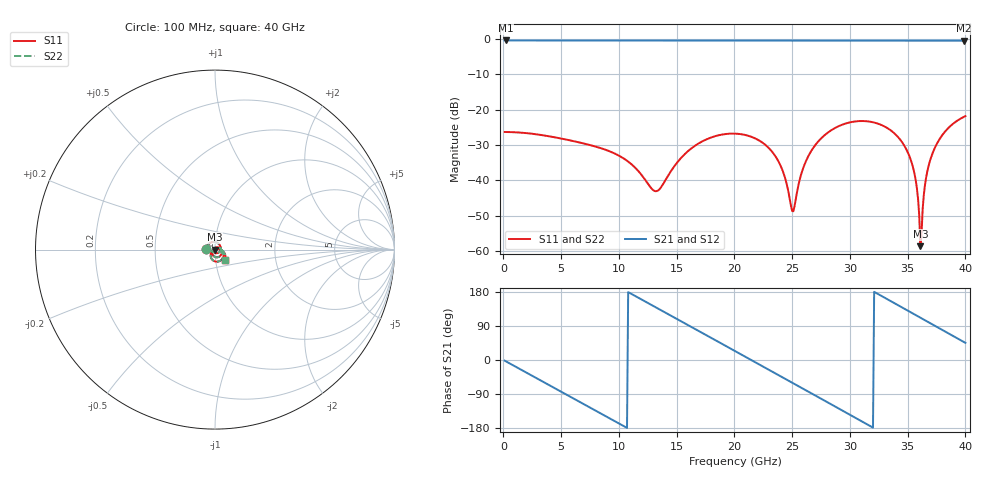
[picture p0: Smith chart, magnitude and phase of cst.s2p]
! thru_s8_L1: 2×thru, L1, 8 mm
! stackup: 8-layer 1.6 mm FR-4 (generic)
! ports: 1, 2
! CST Studio Suite 2025.5 Release from 2025-05-30, time domain (FIT, hexahedral, PBA), 93100 mesh cells, 21 s
! mesh: {'lpw': 20, 'lpb': 20, 'minstep': 0.0, 'ratio': 20}; ports: port 1 (face); port 2 (face)
! interpolated from CST's 1001 samples to the case grid
# Hz S RI R 50
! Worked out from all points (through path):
!   400 points, 100 MHz to 40 GHz, reference 50 ohm
!   highest |S21| = -0.43 dB at 200 MHz (marker M1); lowest = -0.5 dB at 39.9 GHz (marker M2)
!   group delay of S21, straight-line fit = 46.8 ps
!   lowest |S11| = -58.6 dB at 36.1 GHz (marker M3), VSWR 1.00, Z = 49.9 + j0.0467 ohm
!   |S11| at or under -10 dB: start of sweep to end of sweep
!   |S22| runs from -58.6 to -21.8 dB; largest |S21 - S12| = 9.2e-07
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1e8  -0.0483 0.00188  0.951 -0.0278  0.951 -0.0278  -0.0483 0.00188
2e8  -0.0482 0.00375  0.9497 -0.0556  0.9497 -0.0556  -0.0482 0.00375
3.8e9  -0.00232 0.0424  0.4217 -0.8519  0.4217 -0.8519  -0.00232 0.0424
6.8e9  0.0321 0.0103  -0.3846 -0.868  -0.3846 -0.868  0.0321 0.0103
1.02e10  0.0067 -0.0204  -0.9365 -0.1513  -0.9365 -0.1513  0.0067 -0.0204
1.34e10  -0.00503 0.0052  -0.6768 0.6646  -0.6768 0.6646  -0.00503 0.0052
1.67e10  0.0317 0.00294  0.1635 0.9342  0.1635 0.9342  0.0317 0.00294
2.01e10  0.0205 -0.041  0.8734 0.3678  0.8734 0.3678  0.0205 -0.041
2.34e10  -0.0148 -0.0187  0.7958 -0.5129  0.7958 -0.5129  -0.0148 -0.0187
2.43e10  -0.0107 -0.00542  0.6335 -0.7034  0.6335 -0.7034  -0.0107 -0.00542
2.51e10  -0.0012 0.00347  0.4516 -0.8318  0.4516 -0.8318  -0.0012 0.00347
2.58e10  0.0103 0.00707  0.2715 -0.9067  0.2715 -0.9067  0.0103 0.00707
2.67e10  0.0265 0.00446  0.0239 -0.9461  0.024 -0.9461  0.0265 0.00446
3.04e10  0.034 -0.0589  -0.8297 -0.455  -0.8297 -0.455  0.034 -0.0589
3.34e10  -0.0205 -0.0488  -0.8751 0.3581  -0.8751 0.3581  -0.0205 -0.0488
3.55e10  -0.0127 -0.00691  -0.5004 0.801  -0.5004 0.801  -0.0127 -0.00691
3.59e10  -0.0053 -0.00154  -0.4018 0.8546  -0.4018 0.8546  -0.0053 -0.00154
3.61e10  -0.00108 0.000468  -0.3503 0.8768  -0.3503 0.8768  -0.00108 0.000468
3.65e10  0.00809 0.00295  -0.2437 0.912  -0.2437 0.912  0.00809 0.00295
3.7e10  0.0203 0.00293  -0.1059 0.9379  -0.1059 0.9379  0.0203 0.00293
3.99e10  0.0579 -0.0546  0.6437 0.6894  0.6437 0.6894  0.0579 -0.0546
4e10  0.0572 -0.0573  0.664 0.67  0.664 0.67  0.0572 -0.0573
